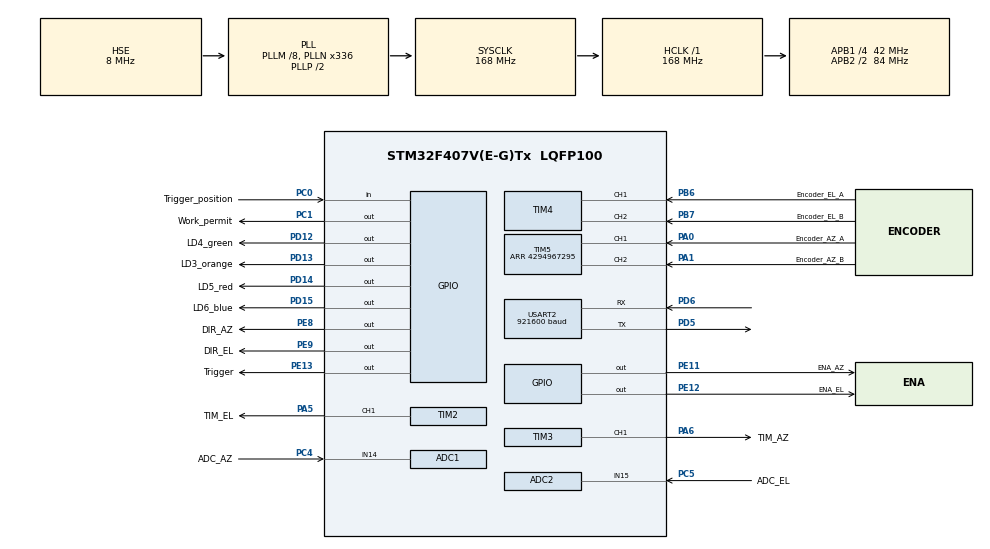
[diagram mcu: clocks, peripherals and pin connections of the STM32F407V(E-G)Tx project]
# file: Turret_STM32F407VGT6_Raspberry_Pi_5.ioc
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ADC1.Channel-0\#ChannelRegularConversion=ADC_CHANNEL_14
ADC1.NbrOfConversionFlag=1
ADC1.Rank-0\#ChannelRegularConversion=1
ADC1.SamplingTime-0\#ChannelRegularConversion=ADC_SAMPLETIME_3CYCLES
ADC1.master=1
ADC2.Channel-0\#ChannelRegularConversion=ADC_CHANNEL_15
ADC2.NbrOfConversionFlag=1
ADC2.Rank-0\#ChannelRegularConversion=1
ADC2.SamplingTime-0\#ChannelRegularConversion=ADC_SAMPLETIME_3CYCLES
Mcu.Family=STM32F4
Mcu.Name=STM32F407V(E-G)Tx
Mcu.Package=LQFP100
NVIC.ADC_IRQn=true\:0\:0\:false\:false\:true\:true\:true\:true
NVIC.PriorityGroup=NVIC_PRIORITYGROUP_4
NVIC.TIM2_IRQn=true\:0\:0\:false\:false\:true\:true\:true\:true
NVIC.TIM3_IRQn=true\:0\:0\:false\:false\:true\:true\:true\:true
NVIC.TIM4_IRQn=true\:0\:0\:false\:false\:true\:true\:true\:true
NVIC.TIM5_IRQn=true\:0\:0\:false\:false\:true\:true\:true\:true
NVIC.USART2_IRQn=true\:0\:0\:false\:false\:true\:true\:true\:true
<<<<<<< HEAD:Turret_STM32F407VGT6_Raspberry_Pi_5.ioc
PA0-WKUP.Signal=S_TIM5_CH1
=======
PA0-WKUP.GPIO_Label=Encoder_AZ_A
PA0-WKUP.GPIO_PuPd=GPIO_PULLUP
PA0-WKUP.Signal=S_TIM5_CH1
PA1.GPIO_Label=Encoder_AZ_B
PA1.GPIO_PuPd=GPIO_PULLUP
>>>>>>> fork/main:Release.ioc
PA1.Signal=S_TIM5_CH2
PA5.GPIO_Label=TIM_EL
PA5.Signal=S_TIM2_CH1_ETR
PA6.GPIO_Label=TIM_AZ
PA6.Signal=S_TIM3_CH1
PB6.GPIO_Label=Encoder_EL_A
PB6.GPIO_PuPd=GPIO_PULLUP
PB6.Signal=S_TIM4_CH1
PB7.GPIO_Label=Encoder_EL_B
PB7.GPIO_PuPd=GPIO_PULLUP
PB7.Signal=S_TIM4_CH2
PC0.GPIO_Label=Trigger_position
PC0.Signal=GPIO_Input
PC1.GPIO_Label=Work_permit
PC1.GPIO_Speed=GPIO_SPEED_FREQ_VERY_HIGH
PC1.Signal=GPIO_Output
PC4.GPIO_Label=ADC_AZ
PC4.Signal=ADCx_IN14
PC5.GPIO_Label=ADC_EL
PC5.Signal=ADCx_IN15
PD12.GPIO_Label=LD4_green
PD12.GPIO_Speed=GPIO_SPEED_FREQ_VERY_HIGH
PD12.PinState=GPIO_PIN_RESET
PD12.Signal=GPIO_Output
PD13.GPIO_Label=LD3_orange
PD13.GPIO_Speed=GPIO_SPEED_FREQ_VERY_HIGH
PD13.Signal=GPIO_Output
PD14.GPIO_Label=LD5_red
PD14.GPIO_Speed=GPIO_SPEED_FREQ_VERY_HIGH
PD14.Signal=GPIO_Output
PD15.GPIO_Label=LD6_blue
PD15.GPIO_Speed=GPIO_SPEED_FREQ_VERY_HIGH
PD15.Signal=GPIO_Output
PD5.Mode=Asynchronous
PD5.Signal=USART2_TX
PD6.Mode=Asynchronous
PD6.Signal=USART2_RX
PE11.GPIO_Label=ENA_AZ
PE11.GPIO_Speed=GPIO_SPEED_FREQ_VERY_HIGH
PE11.PinState=GPIO_PIN_SET
PE11.Signal=GPIO_Output
PE12.GPIO_Label=ENA_EL
PE12.GPIO_Speed=GPIO_SPEED_FREQ_VERY_HIGH
PE12.PinState=GPIO_PIN_SET
PE12.Signal=GPIO_Output
PE13.GPIO_Label=Trigger
PE13.GPIO_Speed=GPIO_SPEED_FREQ_VERY_HIGH
PE13.Signal=GPIO_Output
PE8.GPIO_Label=DIR_AZ
PE8.GPIO_Speed=GPIO_SPEED_FREQ_VERY_HIGH
PE8.PinState=GPIO_PIN_RESET
PE8.Signal=GPIO_Output
PE9.GPIO_Label=DIR_EL
PE9.GPIO_Speed=GPIO_SPEED_FREQ_VERY_HIGH
PE9.PinState=GPIO_PIN_RESET
PE9.Signal=GPIO_Output
PH0-OSC_IN.Mode=HSE-External-Oscillator
PH0-OSC_IN.Signal=RCC_OSC_IN
PH1-OSC_OUT.Mode=HSE-External-Oscillator
PH1-OSC_OUT.Signal=RCC_OSC_OUT
ProjectManager.HeapSize=0x200
ProjectManager.StackSize=0x400
ProjectManager.TargetToolchain=STM32CubeIDE
RCC.48MHZClocksFreq_Value=84000000
RCC.AHBFreq_Value=168000000
RCC.APB1CLKDivider=RCC_HCLK_DIV4
RCC.APB1Freq_Value=42000000
RCC.APB1TimFreq_Value=84000000
RCC.APB2CLKDivider=RCC_HCLK_DIV2
RCC.APB2Freq_Value=84000000
RCC.APB2TimFreq_Value=168000000
RCC.CortexFreq_Value=168000000
RCC.HCLKFreq_Value=168000000
RCC.HSE_VALUE=8000000
RCC.HSI_VALUE=16000000
RCC.LSE_VALUE=32768
RCC.PLLM=8
RCC.PLLN=336
RCC.PLLSourceVirtual=RCC_PLLSOURCE_HSE
RCC.SYSCLKFreq_VALUE=168000000
RCC.SYSCLKSource=RCC_SYSCLKSOURCE_PLLCLK
RCC.VCOOutputFreq_Value=336000000
SH.ADCx_IN14.0=ADC1_IN14,IN14
SH.ADCx_IN15.0=ADC2_IN15,IN15
SH.S_TIM2_CH1_ETR.0=TIM2_CH1,PWM Generation1 CH1
SH.S_TIM3_CH1.0=TIM3_CH1,PWM Generation1 CH1
SH.S_TIM4_CH1.0=TIM4_CH1,Encoder_Interface
SH.S_TIM4_CH2.0=TIM4_CH2,Encoder_Interface
SH.S_TIM5_CH1.0=TIM5_CH1,Encoder_Interface
SH.S_TIM5_CH2.0=TIM5_CH2,Encoder_Interface
TIM2.AutoReloadPreload=TIM_AUTORELOAD_PRELOAD_ENABLE
TIM2.Channel-PWM\ Generation1\ CH1=TIM_CHANNEL_1
TIM2.Period=999
TIM2.Prescaler=999
TIM2.Pulse-PWM\ Generation1\ CH1=500
TIM3.AutoReloadPreload=TIM_AUTORELOAD_PRELOAD_ENABLE
TIM3.Channel-PWM\ Generation1\ CH1=TIM_CHANNEL_1
TIM3.Period=999
TIM3.Prescaler=1
TIM3.Pulse-PWM\ Generation1\ CH1=500
<<<<<<< HEAD:Turret_STM32F407VGT6_Raspberry_Pi_5.ioc
TIM4.EncoderMode=TIM_ENCODERMODE_TI12
TIM4.IC1Filter=0
TIM4.IC2Filter=0
TIM5.EncoderMode=TIM_ENCODERMODE_TI12
TIM5.IC1Filter=0
TIM5.IC2Filter=0
TIM5.Period=4294967295
=======
TIM4.IC1Filter=6
TIM4.IC2Filter=6
TIM5.IC1Filter=6
TIM5.IC2Filter=6
>>>>>>> fork/main:Release.ioc
USART2.BaudRate=921600
USART2.VirtualMode=VM_ASYNC
board=custom

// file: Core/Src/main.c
/* USER CODE BEGIN Header */
/**
  ******************************************************************************
  * @file           : main.c
  * @brief          : Main program body
  ******************************************************************************
  * @attention
  *
  * Copyright (c) 2025 STMicroelectronics.
  * All rights reserved.
  *
  * This software is licensed under terms that can be found in the LICENSE file
  * in the root directory of this software component.
  * If no LICENSE file comes with this software, it is provided AS-IS.
  *
  ******************************************************************************
  */
/* USER CODE END Header */
#include "main.h"

ADC_HandleTypeDef hadc1;
ADC_HandleTypeDef hadc2;

TIM_HandleTypeDef htim2;
TIM_HandleTypeDef htim3;
TIM_HandleTypeDef htim4;
TIM_HandleTypeDef htim5;

UART_HandleTypeDef huart2;

/* USER CODE BEGIN PV */
<<<<<<< HEAD
float Angular_AZ_encoder;
float Angular_EL_encoder;
=======
unsigned char UART_ready = 1;
size_t Size_Rx_UART;
size_t Size_Tx_UART;
>>>>>>> fork/main
/* USER CODE END PV */

void SystemClock_Config(void);
static void MX_GPIO_Init(void);
static void MX_ADC1_Init(void);
static void MX_ADC2_Init(void);
static void MX_USART2_UART_Init(void);
static void MX_TIM2_Init(void);
static void MX_TIM3_Init(void);
static void MX_TIM4_Init(void);
static void MX_TIM5_Init(void);

int main(void)
{
<<<<<<< HEAD
=======

  /* USER CODE BEGIN 1 */
  Positional_encoder_AZ.Timer = &htim5;
  Positional_encoder_EL.Timer = &htim4;

  Motor_AZ.PWM.Timer = &htim3;
  Motor_AZ.PWM.Channel = TIM_CHANNEL_1;
  Motor_EL.PWM.Timer = &htim2;
  Motor_EL.PWM.Channel = TIM_CHANNEL_1;

  Target.Chanal = &huart2;
  Size_Rx_UART = sizeof(Target.Rx_data);
  Size_Tx_UART = sizeof(Target.Tx_data);
>>>>>>> fork/main
  /* USER CODE END 1 */

  /* MCU Configuration--------------------------------------------------------*/

  /* Reset of all peripherals, Initializes the Flash interface and the Systick. */
  HAL_Init();

  /* Configure the system clock */
  SystemClock_Config();

  /* Initialize all configured peripherals */
  MX_GPIO_Init();
  MX_ADC1_Init();
  MX_ADC2_Init();
  MX_USART2_UART_Init();
  MX_TIM2_Init();
  MX_TIM3_Init();
  MX_TIM4_Init();
  MX_TIM5_Init();
  /* USER CODE BEGIN 2 */
<<<<<<< HEAD
  Encoders_Init(&htim5, &htim4);
=======
  Initialization_of_positioning_encoders();
  HAL_UART_Receive_IT(Target.Chanal, (uint8_t*)Target.Rx_data, Size_Rx_UART);
>>>>>>> fork/main
  /* USER CODE END 2 */

  /* Infinite loop */
  /* USER CODE BEGIN WHILE */
<<<<<<< HEAD

  while (1)
  {
	  Angular_AZ_encoder = GetEncoderAngle(&Encoder_AZ ,&htim5);
=======
  while (1)
  {
    Reading_the_system_position(&Positional_encoder_AZ, &Systema_AZ);
    Reading_the_system_position(&Positional_encoder_EL, &Systema_EL);

    if (Checking_the_workspace(&Systema_AZ) == HAL_OK && Checking_the_workspace(&Systema_EL) == HAL_OK) {
      switch (Target.Rx_data[15]) {
      case '0':
        Manual_operation();
    	break;
      case '1':
    	Pointing_at_an_angle();
        break;
      case '2': break;
      default:
    	Message_formation();
        if (HAL_UART_Transmit_IT(Target.Chanal, (uint8_t*)Target.Tx_data, Size_Tx_UART) == HAL_OK) {
          Target.transmitting = 1;
        };
        break;
      }
    }
    else {Return_to_the_workspace();};
>>>>>>> fork/main
    /* USER CODE END WHILE */

  }
}

void SystemClock_Config(void)
{
  RCC_OscInitTypeDef RCC_OscInitStruct = {0};
  RCC_ClkInitTypeDef RCC_ClkInitStruct = {0};

  /** Configure the main internal regulator output voltage
  */
  __HAL_RCC_PWR_CLK_ENABLE();
  __HAL_PWR_VOLTAGESCALING_CONFIG(PWR_REGULATOR_VOLTAGE_SCALE1);

  /** Initializes the RCC Oscillators according to the specified parameters
  * in the RCC_OscInitTypeDef structure.
  */
  RCC_OscInitStruct.OscillatorType = RCC_OSCILLATORTYPE_HSE;
  RCC_OscInitStruct.HSEState = RCC_HSE_ON;
  RCC_OscInitStruct.PLL.PLLState = RCC_PLL_ON;
  RCC_OscInitStruct.PLL.PLLSource = RCC_PLLSOURCE_HSE;
  RCC_OscInitStruct.PLL.PLLM = 8;
  RCC_OscInitStruct.PLL.PLLN = 336;
  RCC_OscInitStruct.PLL.PLLP = RCC_PLLP_DIV2;
  RCC_OscInitStruct.PLL.PLLQ = 4;
  if (HAL_RCC_OscConfig(&RCC_OscInitStruct) != HAL_OK)
  {
    Error_Handler();
  }

  /** Initializes the CPU, AHB and APB buses clocks
  */
  RCC_ClkInitStruct.ClockType = RCC_CLOCKTYPE_HCLK|RCC_CLOCKTYPE_SYSCLK
                              |RCC_CLOCKTYPE_PCLK1|RCC_CLOCKTYPE_PCLK2;
  RCC_ClkInitStruct.SYSCLKSource = RCC_SYSCLKSOURCE_PLLCLK;
  RCC_ClkInitStruct.AHBCLKDivider = RCC_SYSCLK_DIV1;
  RCC_ClkInitStruct.APB1CLKDivider = RCC_HCLK_DIV4;
  RCC_ClkInitStruct.APB2CLKDivider = RCC_HCLK_DIV2;

  if (HAL_RCC_ClockConfig(&RCC_ClkInitStruct, FLASH_LATENCY_5) != HAL_OK)
  {
    Error_Handler();
  }
}

static void MX_ADC1_Init(void)
{

  ADC_ChannelConfTypeDef sConfig = {0};

  /** Configure the global features of the ADC (Clock, Resolution, Data Alignment and number of conversion)
  */
  hadc1.Instance = ADC1;
  hadc1.Init.ClockPrescaler = ADC_CLOCK_SYNC_PCLK_DIV4;
  hadc1.Init.Resolution = ADC_RESOLUTION_12B;
  hadc1.Init.ScanConvMode = DISABLE;
  hadc1.Init.ContinuousConvMode = DISABLE;
  hadc1.Init.DiscontinuousConvMode = DISABLE;
  hadc1.Init.ExternalTrigConvEdge = ADC_EXTERNALTRIGCONVEDGE_NONE;
  hadc1.Init.ExternalTrigConv = ADC_SOFTWARE_START;
  hadc1.Init.DataAlign = ADC_DATAALIGN_RIGHT;
  hadc1.Init.NbrOfConversion = 1;
  hadc1.Init.DMAContinuousRequests = DISABLE;
  hadc1.Init.EOCSelection = ADC_EOC_SINGLE_CONV;
  if (HAL_ADC_Init(&hadc1) != HAL_OK)
  {
    Error_Handler();
  }

  /** Configure for the selected ADC regular channel its corresponding rank in the sequencer and its sample time.
  */
  sConfig.Channel = ADC_CHANNEL_14;
  sConfig.Rank = 1;
  sConfig.SamplingTime = ADC_SAMPLETIME_3CYCLES;
  if (HAL_ADC_ConfigChannel(&hadc1, &sConfig) != HAL_OK)
  {
    Error_Handler();
  }

}

static void MX_ADC2_Init(void)
{

  ADC_ChannelConfTypeDef sConfig = {0};

  /** Configure the global features of the ADC (Clock, Resolution, Data Alignment and number of conversion)
  */
  hadc2.Instance = ADC2;
  hadc2.Init.ClockPrescaler = ADC_CLOCK_SYNC_PCLK_DIV4;
  hadc2.Init.Resolution = ADC_RESOLUTION_12B;
  hadc2.Init.ScanConvMode = DISABLE;
  hadc2.Init.ContinuousConvMode = DISABLE;
  hadc2.Init.DiscontinuousConvMode = DISABLE;
  hadc2.Init.ExternalTrigConvEdge = ADC_EXTERNALTRIGCONVEDGE_NONE;
  hadc2.Init.ExternalTrigConv = ADC_SOFTWARE_START;
  hadc2.Init.DataAlign = ADC_DATAALIGN_RIGHT;
  hadc2.Init.NbrOfConversion = 1;
  hadc2.Init.DMAContinuousRequests = DISABLE;
  hadc2.Init.EOCSelection = ADC_EOC_SINGLE_CONV;
  if (HAL_ADC_Init(&hadc2) != HAL_OK)
  {
    Error_Handler();
  }

  /** Configure for the selected ADC regular channel its corresponding rank in the sequencer and its sample time.
  */
  sConfig.Channel = ADC_CHANNEL_15;
  sConfig.Rank = 1;
  sConfig.SamplingTime = ADC_SAMPLETIME_3CYCLES;
  if (HAL_ADC_ConfigChannel(&hadc2, &sConfig) != HAL_OK)
  {
    Error_Handler();
  }

}

static void MX_TIM2_Init(void)
{

  TIM_MasterConfigTypeDef sMasterConfig = {0};
  TIM_OC_InitTypeDef sConfigOC = {0};

  htim2.Instance = TIM2;
  htim2.Init.Prescaler = 999;
  htim2.Init.CounterMode = TIM_COUNTERMODE_UP;
  htim2.Init.Period = 999;
  htim2.Init.ClockDivision = TIM_CLOCKDIVISION_DIV1;
  htim2.Init.AutoReloadPreload = TIM_AUTORELOAD_PRELOAD_ENABLE;
  if (HAL_TIM_PWM_Init(&htim2) != HAL_OK)
  {
    Error_Handler();
  }
  sMasterConfig.MasterOutputTrigger = TIM_TRGO_RESET;
  sMasterConfig.MasterSlaveMode = TIM_MASTERSLAVEMODE_DISABLE;
  if (HAL_TIMEx_MasterConfigSynchronization(&htim2, &sMasterConfig) != HAL_OK)
  {
    Error_Handler();
  }
  sConfigOC.OCMode = TIM_OCMODE_PWM1;
  sConfigOC.Pulse = 500;
  sConfigOC.OCPolarity = TIM_OCPOLARITY_HIGH;
  sConfigOC.OCFastMode = TIM_OCFAST_DISABLE;
  if (HAL_TIM_PWM_ConfigChannel(&htim2, &sConfigOC, TIM_CHANNEL_1) != HAL_OK)
  {
    Error_Handler();
  }
  HAL_TIM_MspPostInit(&htim2);

}

static void MX_TIM3_Init(void)
{

  TIM_MasterConfigTypeDef sMasterConfig = {0};
  TIM_OC_InitTypeDef sConfigOC = {0};

  htim3.Instance = TIM3;
  htim3.Init.Prescaler = 1;
  htim3.Init.CounterMode = TIM_COUNTERMODE_UP;
  htim3.Init.Period = 999;
  htim3.Init.ClockDivision = TIM_CLOCKDIVISION_DIV1;
  htim3.Init.AutoReloadPreload = TIM_AUTORELOAD_PRELOAD_ENABLE;
  if (HAL_TIM_PWM_Init(&htim3) != HAL_OK)
  {
    Error_Handler();
  }
  sMasterConfig.MasterOutputTrigger = TIM_TRGO_RESET;
  sMasterConfig.MasterSlaveMode = TIM_MASTERSLAVEMODE_DISABLE;
  if (HAL_TIMEx_MasterConfigSynchronization(&htim3, &sMasterConfig) != HAL_OK)
  {
    Error_Handler();
  }
  sConfigOC.OCMode = TIM_OCMODE_PWM1;
  sConfigOC.Pulse = 500;
  sConfigOC.OCPolarity = TIM_OCPOLARITY_HIGH;
  sConfigOC.OCFastMode = TIM_OCFAST_DISABLE;
  if (HAL_TIM_PWM_ConfigChannel(&htim3, &sConfigOC, TIM_CHANNEL_1) != HAL_OK)
  {
    Error_Handler();
  }
  HAL_TIM_MspPostInit(&htim3);

}

static void MX_TIM4_Init(void)
{

  TIM_Encoder_InitTypeDef sConfig = {0};
  TIM_MasterConfigTypeDef sMasterConfig = {0};

  htim4.Instance = TIM4;
  htim4.Init.Prescaler = 0;
  htim4.Init.CounterMode = TIM_COUNTERMODE_UP;
  htim4.Init.Period = 65535;
  htim4.Init.ClockDivision = TIM_CLOCKDIVISION_DIV1;
  htim4.Init.AutoReloadPreload = TIM_AUTORELOAD_PRELOAD_DISABLE;
  sConfig.EncoderMode = TIM_ENCODERMODE_TI12;
  sConfig.IC1Polarity = TIM_ICPOLARITY_RISING;
  sConfig.IC1Selection = TIM_ICSELECTION_DIRECTTI;
  sConfig.IC1Prescaler = TIM_ICPSC_DIV1;
  sConfig.IC1Filter = 0;
  sConfig.IC2Polarity = TIM_ICPOLARITY_RISING;
  sConfig.IC2Selection = TIM_ICSELECTION_DIRECTTI;
  sConfig.IC2Prescaler = TIM_ICPSC_DIV1;
  sConfig.IC2Filter = 0;
  if (HAL_TIM_Encoder_Init(&htim4, &sConfig) != HAL_OK)
  {
    Error_Handler();
  }
  sMasterConfig.MasterOutputTrigger = TIM_TRGO_RESET;
  sMasterConfig.MasterSlaveMode = TIM_MASTERSLAVEMODE_DISABLE;
  if (HAL_TIMEx_MasterConfigSynchronization(&htim4, &sMasterConfig) != HAL_OK)
  {
    Error_Handler();
  }

}

static void MX_TIM5_Init(void)
{

  TIM_Encoder_InitTypeDef sConfig = {0};
  TIM_MasterConfigTypeDef sMasterConfig = {0};

  htim5.Instance = TIM5;
  htim5.Init.Prescaler = 0;
  htim5.Init.CounterMode = TIM_COUNTERMODE_UP;
  htim5.Init.Period = 4294967295;
  htim5.Init.ClockDivision = TIM_CLOCKDIVISION_DIV1;
  htim5.Init.AutoReloadPreload = TIM_AUTORELOAD_PRELOAD_DISABLE;
  sConfig.EncoderMode = TIM_ENCODERMODE_TI12;
  sConfig.IC1Polarity = TIM_ICPOLARITY_RISING;
  sConfig.IC1Selection = TIM_ICSELECTION_DIRECTTI;
  sConfig.IC1Prescaler = TIM_ICPSC_DIV1;
  sConfig.IC1Filter = 0;
  sConfig.IC2Polarity = TIM_ICPOLARITY_RISING;
  sConfig.IC2Selection = TIM_ICSELECTION_DIRECTTI;
  sConfig.IC2Prescaler = TIM_ICPSC_DIV1;
  sConfig.IC2Filter = 0;
  if (HAL_TIM_Encoder_Init(&htim5, &sConfig) != HAL_OK)
  {
    Error_Handler();
  }
  sMasterConfig.MasterOutputTrigger = TIM_TRGO_RESET;
  sMasterConfig.MasterSlaveMode = TIM_MASTERSLAVEMODE_DISABLE;
  if (HAL_TIMEx_MasterConfigSynchronization(&htim5, &sMasterConfig) != HAL_OK)
  {
    Error_Handler();
  }

}

static void MX_USART2_UART_Init(void)
{

  huart2.Instance = USART2;
  huart2.Init.BaudRate = 921600;
  huart2.Init.WordLength = UART_WORDLENGTH_8B;
  huart2.Init.StopBits = UART_STOPBITS_1;
  huart2.Init.Parity = UART_PARITY_NONE;
  huart2.Init.Mode = UART_MODE_TX_RX;
  huart2.Init.HwFlowCtl = UART_HWCONTROL_NONE;
  huart2.Init.OverSampling = UART_OVERSAMPLING_16;
  if (HAL_UART_Init(&huart2) != HAL_OK)
  {
    Error_Handler();
  }

}

static void MX_GPIO_Init(void)
{
  GPIO_InitTypeDef GPIO_InitStruct = {0};

  /* GPIO Ports Clock Enable */
  __HAL_RCC_GPIOH_CLK_ENABLE();
  __HAL_RCC_GPIOC_CLK_ENABLE();
  __HAL_RCC_GPIOA_CLK_ENABLE();
  __HAL_RCC_GPIOE_CLK_ENABLE();
  __HAL_RCC_GPIOD_CLK_ENABLE();
  __HAL_RCC_GPIOB_CLK_ENABLE();

  /*Configure GPIO pin Output Level */
  HAL_GPIO_WritePin(Work_permit_GPIO_Port, Work_permit_Pin, GPIO_PIN_RESET);

  /*Configure GPIO pin Output Level */
  HAL_GPIO_WritePin(GPIOE, DIR_AZ_Pin|DIR_EL_Pin|Trigger_Pin, GPIO_PIN_RESET);

  /*Configure GPIO pin Output Level */
  HAL_GPIO_WritePin(GPIOE, ENA_AZ_Pin|ENA_EL_Pin, GPIO_PIN_SET);

  /*Configure GPIO pin Output Level */
  HAL_GPIO_WritePin(GPIOD, LD4_green_Pin|LD3_orange_Pin|LD5_red_Pin|LD6_blue_Pin, GPIO_PIN_RESET);

  /*Configure GPIO pin : Trigger_position_Pin */
  GPIO_InitStruct.Pin = Trigger_position_Pin;
  GPIO_InitStruct.Mode = GPIO_MODE_INPUT;
  GPIO_InitStruct.Pull = GPIO_NOPULL;
  HAL_GPIO_Init(Trigger_position_GPIO_Port, &GPIO_InitStruct);

  /*Configure GPIO pin : Work_permit_Pin */
  GPIO_InitStruct.Pin = Work_permit_Pin;
  GPIO_InitStruct.Mode = GPIO_MODE_OUTPUT_PP;
  GPIO_InitStruct.Pull = GPIO_NOPULL;
  GPIO_InitStruct.Speed = GPIO_SPEED_FREQ_VERY_HIGH;
  HAL_GPIO_Init(Work_permit_GPIO_Port, &GPIO_InitStruct);

  /*Configure GPIO pins : DIR_AZ_Pin DIR_EL_Pin ENA_AZ_Pin ENA_EL_Pin
                           Trigger_Pin */
  GPIO_InitStruct.Pin = DIR_AZ_Pin|DIR_EL_Pin|ENA_AZ_Pin|ENA_EL_Pin
                          |Trigger_Pin;
  GPIO_InitStruct.Mode = GPIO_MODE_OUTPUT_PP;
  GPIO_InitStruct.Pull = GPIO_NOPULL;
  GPIO_InitStruct.Speed = GPIO_SPEED_FREQ_VERY_HIGH;
  HAL_GPIO_Init(GPIOE, &GPIO_InitStruct);

  /*Configure GPIO pins : LD4_green_Pin LD3_orange_Pin LD5_red_Pin LD6_blue_Pin */
  GPIO_InitStruct.Pin = LD4_green_Pin|LD3_orange_Pin|LD5_red_Pin|LD6_blue_Pin;
  GPIO_InitStruct.Mode = GPIO_MODE_OUTPUT_PP;
  GPIO_InitStruct.Pull = GPIO_NOPULL;
  GPIO_InitStruct.Speed = GPIO_SPEED_FREQ_VERY_HIGH;
  HAL_GPIO_Init(GPIOD, &GPIO_InitStruct);

}

/* USER CODE BEGIN 4 */
<<<<<<< HEAD
=======
void HAL_UART_RxCpltCallback(UART_HandleTypeDef *huart)
{
	Data_parsing();

	HAL_UART_Receive_IT(&huart2, (uint8_t*)Target.Rx_data, Size_Rx_UART);
};
>>>>>>> fork/main

void HAL_UART_TxCpltCallback(UART_HandleTypeDef *huart)
{
    Target.transmitting = 0;
}

// Обработчик прерывания для азимута (TIM5)
void TIM5_IRQHandler(void) {
    if (__HAL_TIM_GET_FLAG(&htim5, TIM_FLAG_UPDATE)) {
        __HAL_TIM_CLEAR_FLAG(&htim5, TIM_FLAG_UPDATE);

        if (__HAL_TIM_IS_TIM_COUNTING_DOWN(&htim5)) {
        	Encoder_AZ.total_counts -= 4294967295;
        } else {
        	Encoder_AZ.total_counts += 4294967295;
        }
    }
    HAL_TIM_IRQHandler(&htim5);
}

// Обработчик прерывания для угла места (TIM4)
void TIM4_IRQHandler(void) {
    if (__HAL_TIM_GET_FLAG(&htim4, TIM_FLAG_UPDATE)) {
        __HAL_TIM_CLEAR_FLAG(&htim4, TIM_FLAG_UPDATE);

        if (__HAL_TIM_IS_TIM_COUNTING_DOWN(&htim4)) {
        	Encoder_EL.total_counts -= 65536;
        } else {
        	Encoder_EL.total_counts += 65536;
        }
    }
    HAL_TIM_IRQHandler(&htim4);
}
/* USER CODE END 4 */

void Error_Handler(void)
{
	__disable_irq();
	while (1)
	{
	}
}
